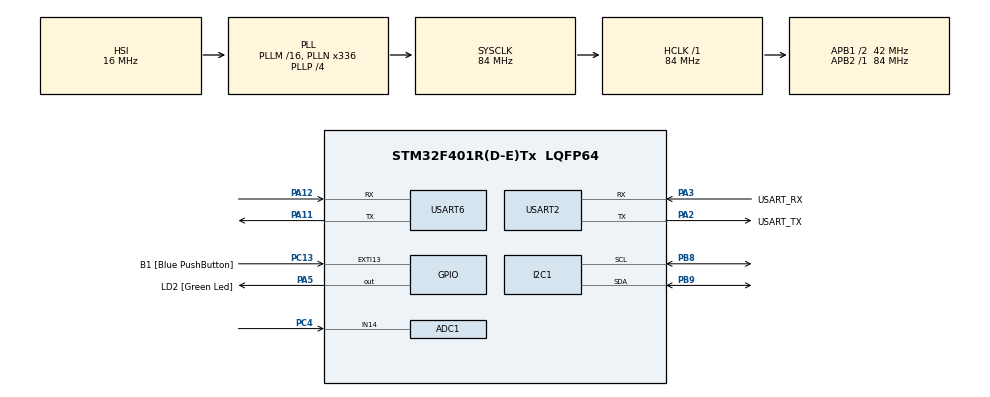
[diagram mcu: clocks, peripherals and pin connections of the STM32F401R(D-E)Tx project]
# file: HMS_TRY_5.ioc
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ADC1.Channel-0\#ChannelRegularConversion=ADC_CHANNEL_14
ADC1.ContinuousConvMode=ENABLE
ADC1.NbrOfConversionFlag=1
ADC1.Rank-0\#ChannelRegularConversion=1
ADC1.SamplingTime-0\#ChannelRegularConversion=ADC_SAMPLETIME_3CYCLES
ADC1.master=1
FREERTOS.Queues01=myQueue01,16,uint16_t,0,Dynamic,NULL,NULL
FREERTOS.Tasks01=defaultTask,0,128,StartDefaultTask,Default,NULL,Dynamic,NULL,NULL;myTask02,-3,128,StartTask02,Default,NULL,Dynamic,NULL,NULL;myTask03,-3,128,StartTask03,Default,NULL,Dynamic,NULL,NULL
FREERTOS.configUSE_NEWLIB_REENTRANT=1
Mcu.Family=STM32F4
Mcu.Name=STM32F401R(D-E)Tx
Mcu.Package=LQFP64
NVIC.PriorityGroup=NVIC_PRIORITYGROUP_4
NVIC.TIM1_TRG_COM_TIM11_IRQn=true\:15\:0\:false\:false\:true\:false\:false\:true\:true
NVIC.TimeBase=TIM1_TRG_COM_TIM11_IRQn
NVIC.TimeBaseIP=TIM11
NVIC.USART2_IRQn=true\:5\:0\:false\:false\:true\:true\:true\:true\:true
NVIC.USART6_IRQn=true\:5\:0\:false\:false\:true\:true\:true\:true\:true
PA11.Mode=Asynchronous
PA11.Signal=USART6_TX
PA12.Mode=Asynchronous
PA12.Signal=USART6_RX
PA13.GPIO_Label=TMS
PA13.Mode=Serial_Wire
PA13.Signal=SYS_JTMS-SWDIO
PA14.GPIO_Label=TCK
PA14.Mode=Serial_Wire
PA14.Signal=SYS_JTCK-SWCLK
PA2.GPIO_Label=USART_TX
PA2.GPIO_Mode=GPIO_MODE_AF_PP
PA2.GPIO_PuPd=GPIO_NOPULL
PA2.GPIO_Speed=GPIO_SPEED_FREQ_LOW
PA2.Mode=Asynchronous
PA2.Signal=USART2_TX
PA3.GPIO_Label=USART_RX
PA3.GPIO_Mode=GPIO_MODE_AF_PP
PA3.GPIO_PuPd=GPIO_NOPULL
PA3.GPIO_Speed=GPIO_SPEED_FREQ_LOW
PA3.Mode=Asynchronous
PA3.Signal=USART2_RX
PA5.GPIO_Label=LD2 [Green Led]
PA5.GPIO_Mode=GPIO_MODE_OUTPUT_PP
PA5.GPIO_PuPd=GPIO_NOPULL
PA5.GPIO_Speed=GPIO_SPEED_FREQ_LOW
PA5.Signal=GPIO_Output
PB3.GPIO_Label=SWO
PB3.Signal=SYS_JTDO-SWO
PB8.Mode=I2C
PB8.Signal=I2C1_SCL
PB9.Mode=I2C
PB9.Signal=I2C1_SDA
PC13-ANTI_TAMP.GPIO_Label=B1 [Blue PushButton]
PC13-ANTI_TAMP.GPIO_ModeDefaultEXTI=GPIO_MODE_IT_FALLING
PC13-ANTI_TAMP.GPIO_PuPd=GPIO_NOPULL
PC13-ANTI_TAMP.Signal=GPXTI13
PC14-OSC32_IN.Mode=LSE-External-Oscillator
PC14-OSC32_IN.Signal=RCC_OSC32_IN
PC15-OSC32_OUT.Mode=LSE-External-Oscillator
PC15-OSC32_OUT.Signal=RCC_OSC32_OUT
PC4.Signal=ADCx_IN14
PH0\ -\ OSC_IN.Mode=HSE-External-Clock-Source
PH0\ -\ OSC_IN.Signal=RCC_OSC_IN
PH1\ -\ OSC_OUT.Mode=HSE-External-Clock-Source
PH1\ -\ OSC_OUT.Signal=RCC_OSC_OUT
ProjectManager.HeapSize=0x200
ProjectManager.StackSize=0x400
ProjectManager.TargetToolchain=STM32CubeIDE
RCC.48MHZClocksFreq_Value=48000000
RCC.AHBFreq_Value=84000000
RCC.APB1CLKDivider=RCC_HCLK_DIV2
RCC.APB1Freq_Value=42000000
RCC.APB1TimFreq_Value=84000000
RCC.APB2Freq_Value=84000000
RCC.APB2TimFreq_Value=84000000
RCC.CortexFreq_Value=84000000
RCC.HCLKFreq_Value=84000000
RCC.HSE_VALUE=8000000
RCC.HSI_VALUE=16000000
RCC.PLLN=336
RCC.PLLP=RCC_PLLP_DIV4
RCC.PLLQ=7
RCC.SYSCLKFreq_VALUE=84000000
RCC.SYSCLKSource=RCC_SYSCLKSOURCE_PLLCLK
RCC.VCOOutputFreq_Value=336000000
SH.ADCx_IN14.0=ADC1_IN14,IN14
USART2.VirtualMode=VM_ASYNC
USART6.VirtualMode=VM_ASYNC
VP_FREERTOS_VS_CMSIS_V1.Mode=CMSIS_V1
VP_SYS_VS_tim11.Mode=TIM11
board=NUCLEO-F401RE

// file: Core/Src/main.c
/* USER CODE BEGIN Header */
/**
 ******************************************************************************
 * @file           : main.c
 * @brief          : Main program body
 ******************************************************************************
 * @attention
 *
 * Copyright (c) 2023 STMicroelectronics.
 * All rights reserved.
 *
 * This software is licensed under terms that can be found in the LICENSE file
 * in the root directory of this software component.
 * If no LICENSE file comes with this software, it is provided AS-IS.
 *
 ******************************************************************************
 */
/* USER CODE END Header */
#include "main.h"
#include "cmsis_os.h"

/* USER CODE BEGIN Includes */
#include "BML_DEF.h"
#include "uart.h"
#include "MLX90614.h"
#include "max30100.h"
#include "hms.h"
#include "ESP8266_HAL.h"
/* USER CODE END Includes */

/* USER CODE BEGIN PD */
#define PRINT_CHAR_LEN	100

#define BEAT_COUNTER_LIMIT	25
#define HR_BEAT_TIMEOUT		60000

#define DEBUG_TEMP			0
#define DEBUG_MAX30100		1
#define DEBUG_ECG			0
/* USER CODE END PD */

ADC_HandleTypeDef hadc1;

I2C_HandleTypeDef hi2c1;

UART_HandleTypeDef huart2;
UART_HandleTypeDef huart6;

osThreadId defaultTaskHandle;
osThreadId myTask02Handle;
osThreadId myTask03Handle;
osMessageQId myQueue01Handle;
/* USER CODE BEGIN PV */

char globalStr[25] = { '\0' };
float globalTemp = 1.00;
int globalHR = 1;
int globalSpO2 = 1;
int globalECG = 1;

int8_t menu_select_flag = -1;

//======== MLX90614 Variables ==========//
float temp = 0;
//bool flag_displayTemp = false;
typedef enum {
	displayTemp_ok = 1, displayTemp_errorVal = 0, displayTemp_errorInit = -1
} displayTempState;
uint8_t mlx90614_workingFlag = 1, mlx90614_status = 0;
displayTempState dts = 0;
//======================================//

//=========== ECG Variables ============//
int16_t adcData = 0;
int16_t adcDataPrev = 0;
int ECG_HR = 0;
//======================================//

//======== MAX30100 Variables ==========//
max30100_config_t max30100 = { 0 };
uint8_t beatCounter = 0;
int16_t finalHR = 0;
int16_t finalSpO2 = 0;
uint16_t hrBeatTimer = 0;

bool max30100_off = true;
bool max30100_on = false;

max30100_data_t result = { };
//======================================//

//============ Wifi Variables ==========//
bool connectWifi = true;
//======================================//

/* USER CODE END PV */

void SystemClock_Config(void);
static void MX_GPIO_Init(void);
static void MX_USART2_UART_Init(void);
static void MX_USART6_UART_Init(void);
static void MX_ADC1_Init(void);
static void MX_I2C1_Init(void);
void StartDefaultTask(void const *argument);
void StartTask02(void const *argument);
void StartTask03(void const *argument);

int main(void) {

	/* MCU Configuration--------------------------------------------------------*/

	/* Reset of all peripherals, Initializes the Flash interface and the Systick. */
	HAL_Init();

	/* Configure the system clock */
	SystemClock_Config();

	/* Initialize all configured peripherals */
	MX_GPIO_Init();
	MX_USART2_UART_Init();
	MX_USART6_UART_Init();
	MX_ADC1_Init();
	MX_I2C1_Init();
	/* USER CODE BEGIN 2 */
	print("Working\n\r");

	LCD_Begin();
	LCD_SetRotation(0);
	//	LCD_FillScreen(BLACK);
	colorgradient(0, 0, TFTWIDTH, TFTHEIGHT, 50);
	HMS_bgdisplay();

	gpio_config(PORTC, 9, INPUT_MODE, LOW_SPEED, EN_PU, PHPL);
	gpio_IT_config(PORTC, 9, FALLING_EDGE);
	gpio_IT_EN(9, EXTI9_5_IRQn);
	gpio_config(PORTC, 6, INPUT_MODE, LOW_SPEED, EN_PU, PHPL);
	gpio_IT_config(PORTC, 6, FALLING_EDGE);
	gpio_IT_EN(6, EXTI9_5_IRQn);

//	ESP_Init("realme GT Master Edition", "9999161397");

	char print_char[PRINT_CHAR_LEN] = { 0 };

	while (!(mlx90614_init())) {
		print("Error in MLX90614 INIT\n");
		mlx90614_workingFlag = 0;
	}
	/* USER CODE END 2 */

	/* Create the queue(s) */
	/* definition and creation of myQueue01 */
	osMessageQDef(myQueue01, 16, uint16_t);
	myQueue01Handle = osMessageCreate(osMessageQ(myQueue01), NULL);

	/* Create the thread(s) */
	/* definition and creation of defaultTask */
	osThreadDef(defaultTask, StartDefaultTask, osPriorityNormal, 0, 1024);
	defaultTaskHandle = osThreadCreate(osThread(defaultTask), NULL);

	/* definition and creation of myTask02 */
	osThreadDef(myTask02, StartTask02, osPriorityNormal, 0, 512);
	myTask02Handle = osThreadCreate(osThread(myTask02), NULL);

	/* definition and creation of myTask03 */
	osThreadDef(myTask03, StartTask03, osPriorityNormal, 0, 256);
	myTask03Handle = osThreadCreate(osThread(myTask03), NULL);

	/* Start scheduler */
	osKernelStart();

	/* We should never get here as control is now taken by the scheduler */
	/* Infinite loop */
	while (1) {

	}
}

void SystemClock_Config(void) {
	RCC_OscInitTypeDef RCC_OscInitStruct = { 0 };
	RCC_ClkInitTypeDef RCC_ClkInitStruct = { 0 };

	/** Configure the main internal regulator output voltage
	 */
	__HAL_RCC_PWR_CLK_ENABLE();
	__HAL_PWR_VOLTAGESCALING_CONFIG(PWR_REGULATOR_VOLTAGE_SCALE2);

	/** Initializes the RCC Oscillators according to the specified parameters
	 * in the RCC_OscInitTypeDef structure.
	 */
	RCC_OscInitStruct.OscillatorType = RCC_OSCILLATORTYPE_HSI;
	RCC_OscInitStruct.HSIState = RCC_HSI_ON;
	RCC_OscInitStruct.HSICalibrationValue = RCC_HSICALIBRATION_DEFAULT;
	RCC_OscInitStruct.PLL.PLLState = RCC_PLL_ON;
	RCC_OscInitStruct.PLL.PLLSource = RCC_PLLSOURCE_HSI;
	RCC_OscInitStruct.PLL.PLLM = 16;
	RCC_OscInitStruct.PLL.PLLN = 336;
	RCC_OscInitStruct.PLL.PLLP = RCC_PLLP_DIV4;
	RCC_OscInitStruct.PLL.PLLQ = 7;
	if (HAL_RCC_OscConfig(&RCC_OscInitStruct) != HAL_OK) {
		Error_Handler();
	}

	/** Initializes the CPU, AHB and APB buses clocks
	 */
	RCC_ClkInitStruct.ClockType = RCC_CLOCKTYPE_HCLK | RCC_CLOCKTYPE_SYSCLK
			| RCC_CLOCKTYPE_PCLK1 | RCC_CLOCKTYPE_PCLK2;
	RCC_ClkInitStruct.SYSCLKSource = RCC_SYSCLKSOURCE_PLLCLK;
	RCC_ClkInitStruct.AHBCLKDivider = RCC_SYSCLK_DIV1;
	RCC_ClkInitStruct.APB1CLKDivider = RCC_HCLK_DIV2;
	RCC_ClkInitStruct.APB2CLKDivider = RCC_HCLK_DIV1;

	if (HAL_RCC_ClockConfig(&RCC_ClkInitStruct, FLASH_LATENCY_2) != HAL_OK) {
		Error_Handler();
	}
}

static void MX_ADC1_Init(void) {

	ADC_ChannelConfTypeDef sConfig = { 0 };

	/** Configure the global features of the ADC (Clock, Resolution, Data Alignment and number of conversion)
	 */
	hadc1.Instance = ADC1;
	hadc1.Init.ClockPrescaler = ADC_CLOCK_SYNC_PCLK_DIV4;
	hadc1.Init.Resolution = ADC_RESOLUTION_12B;
	hadc1.Init.ScanConvMode = DISABLE;
	hadc1.Init.ContinuousConvMode = ENABLE;
	hadc1.Init.DiscontinuousConvMode = DISABLE;
	hadc1.Init.ExternalTrigConvEdge = ADC_EXTERNALTRIGCONVEDGE_NONE;
	hadc1.Init.ExternalTrigConv = ADC_SOFTWARE_START;
	hadc1.Init.DataAlign = ADC_DATAALIGN_RIGHT;
	hadc1.Init.NbrOfConversion = 1;
	hadc1.Init.DMAContinuousRequests = DISABLE;
	hadc1.Init.EOCSelection = ADC_EOC_SINGLE_CONV;
	if (HAL_ADC_Init(&hadc1) != HAL_OK) {
		Error_Handler();
	}

	/** Configure for the selected ADC regular channel its corresponding rank in the sequencer and its sample time.
	 */
	sConfig.Channel = ADC_CHANNEL_14;
	sConfig.Rank = 1;
	sConfig.SamplingTime = ADC_SAMPLETIME_3CYCLES;
	if (HAL_ADC_ConfigChannel(&hadc1, &sConfig) != HAL_OK) {
		Error_Handler();
	}

}

static void MX_I2C1_Init(void) {

	hi2c1.Instance = I2C1;
	hi2c1.Init.ClockSpeed = 100000;
	hi2c1.Init.DutyCycle = I2C_DUTYCYCLE_2;
	hi2c1.Init.OwnAddress1 = 0;
	hi2c1.Init.AddressingMode = I2C_ADDRESSINGMODE_7BIT;
	hi2c1.Init.DualAddressMode = I2C_DUALADDRESS_DISABLE;
	hi2c1.Init.OwnAddress2 = 0;
	hi2c1.Init.GeneralCallMode = I2C_GENERALCALL_DISABLE;
	hi2c1.Init.NoStretchMode = I2C_NOSTRETCH_DISABLE;
	if (HAL_I2C_Init(&hi2c1) != HAL_OK) {
		Error_Handler();
	}

}

static void MX_USART2_UART_Init(void) {

	huart2.Instance = USART2;
	huart2.Init.BaudRate = 115200;
	huart2.Init.WordLength = UART_WORDLENGTH_8B;
	huart2.Init.StopBits = UART_STOPBITS_1;
	huart2.Init.Parity = UART_PARITY_NONE;
	huart2.Init.Mode = UART_MODE_TX_RX;
	huart2.Init.HwFlowCtl = UART_HWCONTROL_NONE;
	huart2.Init.OverSampling = UART_OVERSAMPLING_16;
	if (HAL_UART_Init(&huart2) != HAL_OK) {
		Error_Handler();
	}

}

static void MX_USART6_UART_Init(void) {

	huart6.Instance = USART6;
	huart6.Init.BaudRate = 115200;
	huart6.Init.WordLength = UART_WORDLENGTH_8B;
	huart6.Init.StopBits = UART_STOPBITS_1;
	huart6.Init.Parity = UART_PARITY_NONE;
	huart6.Init.Mode = UART_MODE_TX_RX;
	huart6.Init.HwFlowCtl = UART_HWCONTROL_NONE;
	huart6.Init.OverSampling = UART_OVERSAMPLING_16;
	if (HAL_UART_Init(&huart6) != HAL_OK) {
		Error_Handler();
	}

}

static void MX_GPIO_Init(void) {
	GPIO_InitTypeDef GPIO_InitStruct = { 0 };

	/* GPIO Ports Clock Enable */
	__HAL_RCC_GPIOC_CLK_ENABLE();
	__HAL_RCC_GPIOH_CLK_ENABLE();
	__HAL_RCC_GPIOA_CLK_ENABLE();
	__HAL_RCC_GPIOB_CLK_ENABLE();

	/*Configure GPIO pin Output Level */
	HAL_GPIO_WritePin(LD2_GPIO_Port, LD2_Pin, GPIO_PIN_RESET);

	/*Configure GPIO pin : B1_Pin */
	GPIO_InitStruct.Pin = B1_Pin;
	GPIO_InitStruct.Mode = GPIO_MODE_IT_FALLING;
	GPIO_InitStruct.Pull = GPIO_NOPULL;
	HAL_GPIO_Init(B1_GPIO_Port, &GPIO_InitStruct);

	/*Configure GPIO pin : LD2_Pin */
	GPIO_InitStruct.Pin = LD2_Pin;
	GPIO_InitStruct.Mode = GPIO_MODE_OUTPUT_PP;
	GPIO_InitStruct.Pull = GPIO_NOPULL;
	GPIO_InitStruct.Speed = GPIO_SPEED_FREQ_LOW;
	HAL_GPIO_Init(LD2_GPIO_Port, &GPIO_InitStruct);

}

/* USER CODE BEGIN 4 */
void EXTI9_5_IRQHandler() {
	if (gpio_IT_CHK(9)) {
		for (int i = 2000000; i > 0; i--)
			;
		menu_select_flag = (menu_select_flag + 1) % 3;

//		print("interrupt: %d\r\n", menu_select_flag);
		gpio_IT_CLR(9);
	}
	if (gpio_IT_CHK(6)) {
		for (int i = 2000000; i > 0; i--);
		connectWifi = true;
//		print("GPIO 6 INT\r\n");
		gpio_IT_CLR(6);
	}
}
/* USER CODE END 4 */

void StartDefaultTask(void const *argument) {
	/* USER CODE BEGIN 5 */
	/* Infinite loop */
	for (;;) {
		if(connectWifi){
			ESP_Init("realme GT Master Edition", "9999161397");
			connectWifi = false;
		}
		else{
			Server_Start(globalTemp, globalHR, globalSpO2, globalECG);
		}

		osDelay(10);
	}
	/* USER CODE END 5 */
}

void StartTask02(void const *argument) {
	/* USER CODE BEGIN StartTask02 */
	char print_char[PRINT_CHAR_LEN] = { 0 };
	uint32_t max30100_startTime = HAL_GetTick(), max30100_lapsedTime = 500;
	/* Infinite loop */
	for (;;) {
		if (menu_select_flag == 0) {
			if (mlx90614_workingFlag == 1) {
				mlx90614_status = mlx90614_getObject1(&temp);
				if (mlx90614_status == true) {
					dts = displayTemp_ok;
					if ((temp > 0) && (temp < 100)) {
						globalTemp = temp;
					} else {
						dts = displayTemp_errorVal;
					}
				} else {
					mlx90614_workingFlag = 0;
				}
			} else if (mlx90614_workingFlag == 0) {
				if (!(mlx90614_init())) {
					dts = displayTemp_errorInit;
					MX_I2C1_Init();
					mlx90614_workingFlag = 0;
				} else {
					mlx90614_workingFlag = 1;
				}
			}
			osDelay(200);
		}
		//		/*
		else if (menu_select_flag == 1) {
			if (max30100_update(&max30100, &result) != HAL_OK) {
				print("Error Reading...Retrying\n");
				MX_I2C1_Init();
				max30100_init(&max30100, &hi2c1,
				MAX30100_DEFAULT_OPERATING_MODE,
				MAX30100_DEFAULT_SAMPLING_RATE,
				MAX30100_DEFAULT_LED_PULSE_WIDTH,
				MAX30100_DEFAULT_IR_LED_CURRENT,
				MAX30100_DEFAULT_START_RED_LED_CURRENT,
				MAX30100_DEFAULT_MEAN_FILTER_SIZE,
				MAX30100_DEFAULT_PULSE_BPM_SAMPLE_SIZE,
				true,
				false);
				//				max30100_resume(&max30100);
				Delay(1000);
			} else {
				if (max30100_off) {
					max30100_resume(&max30100);
					max30100_off = false;
					max30100_on = true;
				}
				hrBeatTimer = HAL_GetTick();
				if (result.pulse_detected) {
					print("BEAT: %d\n", beatCounter++);
				}
				if (HAL_GetTick() - max30100_startTime > max30100_lapsedTime) {
					if (result.ir_dc_value < 10000.00) {
						print("No finger Detected\n");
						max30100.current_bpm = 0.0;
						max30100.current_spO2 = 0.0;
					} else {
						if (beatCounter < BEAT_COUNTER_LIMIT) {
#if DEBUG_MAX30100 == 1
							print("BPM: %0.2f | SpO2: %0.2f%%\n",
									result.heart_bpm, result.spO2);
#endif
						} else if (beatCounter > BEAT_COUNTER_LIMIT) {
							finalHR = result.heart_bpm;
							finalSpO2 = result.spO2;
							print(
									"//===============| Final HR: %d | SpO2: %d%%|==============//\n",
									finalHR, finalSpO2);
							beatCounter = 0;

							if ((finalHR > 0) && (finalHR < 100)) {
								globalHR = finalHR;
							}
							if ((finalSpO2 > 0) && (finalSpO2 < 100)) {
								globalSpO2 = finalSpO2;
							}
						}
					}
					max30100_startTime = HAL_GetTick();
				}
			}
		}
		//		*/
		else if (menu_select_flag == 2) {
			if (max30100_on) {
				max30100_shutdown(&max30100);
				HAL_I2C_DeInit(&hi2c1);
				max30100_off = true;
				max30100_on = false;
			}
			adcDataPrev = adcData;
			HAL_ADC_Start(&hadc1);
			HAL_ADC_PollForConversion(&hadc1, 100);
			adcData = (uint16_t) HAL_ADC_GetValue(&hadc1);
			sprintf(print_char, "Analog Val: %d\n", adcData);
			USART_WRITE(USART2, print_char, strlen(print_char), 10);

			if ((adcData - adcDataPrev) > 800) {
				ECG_HR += 1;
			}
			osDelay(1);
		}

		//		print("Task 2 Running\r\n");
		osDelay(1);
	}
	/* USER CODE END StartTask02 */
}

void StartTask03(void const *argument) {
	/* USER CODE BEGIN StartTask03 */
	uint32_t ecg_startTime = HAL_GetTick(), ecg_lapsedTime = 60000;
	/* Infinite loop */
	for (;;) {
		if (menu_select_flag == 0) {
			if (dts == displayTemp_ok) {
#if DEBUG_TEMP == 1
					print("Temp in Celsius: = %0.2f\n", globalTemp);
		#endif
				LCD_SetTextColor(WHITE, BLUE);
				LCD_SetCursor(130, (TFTHEIGHT / 3) + 80);
				LCD_SetTextSize(2);
				LCD_Printf("%0.2f'C", globalTemp);
			} else if (dts == displayTemp_errorVal) {
#if DEBUG_TEMP == 1
					print("Temp in Celsius: = %0.2f\n", globalTemp);
		#endif
				LCD_SetTextColor(WHITE, BLUE);
				LCD_SetCursor(130, (TFTHEIGHT / 3) + 80);
				LCD_SetTextSize(2);
				LCD_Printf("     NA");
			} else if (dts == displayTemp_errorInit) {
#if DEBUG_TEMP == 1
					print("Error in MLX90614 INIT\n");
		#endif
				LCD_SetTextColor(WHITE, BLUE);
				LCD_SetCursor(130, (TFTHEIGHT / 3) + 80);
				LCD_SetTextSize(2);
				LCD_Printf("  ERROR");
			}
		} else if (menu_select_flag == 1) {
			LCD_SetTextColor(WHITE, RED);
			LCD_SetCursor(155, (TFTHEIGHT / 3) + 20);
			LCD_SetTextSize(2);
			LCD_Printf("%dBPM", globalHR);

			LCD_SetTextColor(WHITE, GREEN);
			LCD_SetCursor(175, (TFTHEIGHT / 3) + 50);
			LCD_Printf("%d%%", finalSpO2);
		} else if (menu_select_flag == 2) {
			//			LCD_ECGAnimation();
			if ((HAL_GetTick() - ecg_startTime) > ecg_lapsedTime) {
				if ((ECG_HR > 0) && (ECG_HR < 100))
					globalECG = ECG_HR;
#if DEBUG_ECG == 1
					sprintf(print_char,"<======|The ECG Heart Rate is: %d|======>\r\n", ECG_HR);
					USART_WRITE(USART2, print_char, strlen(print_char), 10);
		#endif
				LCD_SetTextColor(BLACK, WHITE);
				LCD_SetCursor(190, 270);
				LCD_SetTextSize(2);
				if (globalECG < 10)
					LCD_Printf(" %d", globalECG);
				else if (globalECG < 100)
					LCD_Printf("%d", globalECG);
				ECG_HR = 0;
				LCD_ECGAnimation();
				ecg_startTime = HAL_GetTick();
			}
		}
		osDelay(200);
	}
	/* USER CODE END StartTask03 */
}

void HAL_TIM_PeriodElapsedCallback(TIM_HandleTypeDef *htim) {
	if (htim->Instance == TIM11) {
		HAL_IncTick();
	}
}

void Error_Handler(void) {
	__disable_irq();
	while (1) {
	}
}
